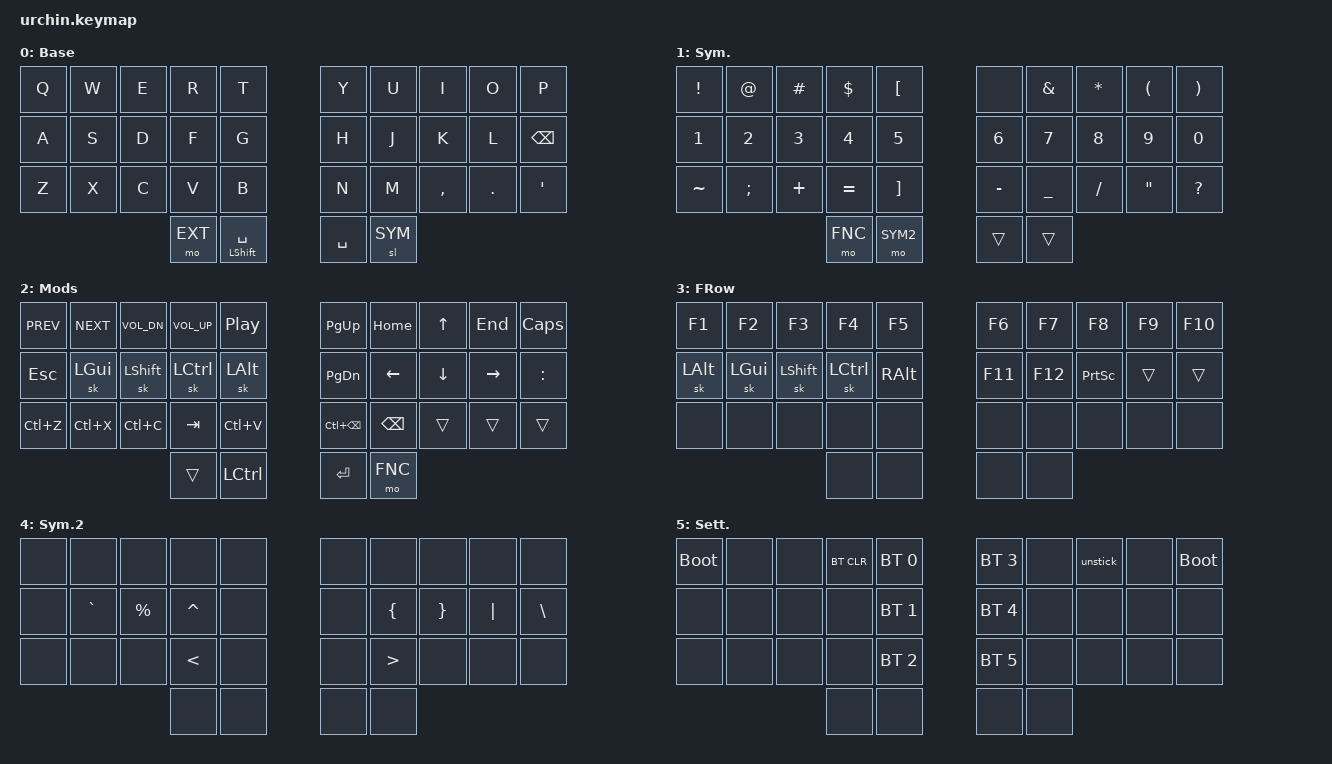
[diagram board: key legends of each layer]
/*
 * Copyright (c) 2020 duckyb
 *
 * SPDX-License-Identifier: MIT
 */

#include <behaviors.dtsi>
#include <dt-bindings/zmk/keys.h>
#include <dt-bindings/zmk/bt.h>
#include <dt-bindings/zmk/outputs.h>

// Layer definitions
#define BASE 0
#define SYM 1
#define EXT 2
#define FNC 3
#define SYM2 4
#define SETTINGS 5
// -----------------

&sk {
	// don't release mods on other mods presses
	ignore-modifiers;
};


/ {
	behaviors {
		// Enables holding the first mod-tap key
		// by performing a tap-release-hold sequence.
		// To use it: "&qt KEYCODE1 KEYCODE2"
		qt: quick_tap {
			compatible = "zmk,behavior-hold-tap";
			label = "QUICK_TAP";
			#binding-cells = <2>;
			flavor = "hold-preferred";
			tapping-term-ms = <200>;
			quick-tap-ms = <200>;
			bindings = <&kp>, <&kp>;
		};
	};

	macros {
		// sometimes my device thinks a modifier is being held down
		// pressing all modifiers fixes it.
		unstick: unstick {
			label = "ZM_unstick";
			compatible = "zmk,behavior-macro";
			#binding-cells = <0>;
			bindings = <&kp LSHIFT &kp RSHIFT &kp LCTRL &kp RCTRL &kp LALT &kp RALT &kp LGUI &kp RGUI>;
		};
	};

	combos {
		compatible = "zmk,combos";
		// internal-left & external-right thumb keys
		combo_sym2 {
			timeout-ms = <200>;
			key-positions = <31 33>;
			bindings = <&mo SYM2>;
		};
		// both left thumb keys
		combo_settings {
			timeout-ms = <200>;
			key-positions = <30 31>;
			bindings = <&mo SETTINGS>;
		};
	};

   keymap {
        compatible = "zmk,keymap";

        default_layer {
            label = "Base";
            bindings = <
        //╭──────────┬──────────┬──────────┬──────────┬──────────╮   ╭──────────┬──────────┬──────────┬──────────┬──────────╮
        //│  Q       │  W       │  E       │  R       │  T       │   │  Y       │  U       │  I       │  O       │  P       │
            &kp Q      &kp W      &kp E      &kp R      &kp T          &kp Y      &kp U      &kp I      &kp O      &kp P
        //├──────────┼──────────┼──────────┼──────────┼──────────┤   ├──────────┼──────────┼──────────┼──────────┼──────────┤
        //│  A       │  S       │  D       │  F       │  G       │   │  H       │  J       │  K       │  L       │  BSPC    │
            &kp A      &kp S      &kp D      &kp F      &kp G          &kp H      &kp J      &kp K      &kp L      &kp BSPC
        //├──────────┼──────────┼──────────┼──────────┼──────────┤   ├──────────┼──────────┼──────────┼──────────┼──────────┤
        //│  Z       │  X       │  C       │  V       │  B       │   │  N       │  M       │ ,        │ .        │  '       │
            &kp Z      &kp X      &kp C      &kp V      &kp B          &kp N      &kp M      &kp COMMA  &kp DOT    &kp SQT
        //╰──────────┴──────────┴──────────┼──────────┼──────────┤   ├──────────┼──────────┼──────────┴──────────┴──────────╯
                                            &mo EXT    &qt LSHIFT SPACE    &kp SPACE  &sl SYM
        //                                 ╰──────────┴──────────╯   ╰──────────┴──────────╯
            >;
        };

        sym_layer {
            label = "Sym.";
            bindings = <
        //╭──────────┬──────────┬──────────┬──────────┬──────────╮   ╭──────────┬──────────┬──────────┬──────────┬──────────╮
        //│  !       │  @       │  #       │  $       │  [       │   │          │  &       │  *       │  (       │  )       │
            &kp EXCL   &kp AT     &kp HASH   &kp DLLR   &kp LBKT       &none      &kp AMPS   &kp STAR   &kp LPAR   &kp RPAR
        //├──────────┼──────────┼──────────┼──────────┼──────────┤   ├──────────┼──────────┼──────────┼──────────┼──────────┤
        //│  1       │  2       │  3       │  4       │  5       │   │  6       │  7       │  8       │  9       │  0       │
            &kp N1     &kp N2     &kp N3     &kp N4     &kp N5         &kp N6     &kp N7     &kp N8     &kp N9     &kp N0
        //├──────────┼──────────┼──────────┼──────────┼──────────┤   ├──────────┼──────────┼──────────┼──────────┼──────────┤
        //│  ~       │  ;       │  +       │  =       │  ]       │   │  -       │  _       │  /       │  "       │  ?       │
            &kp TILDE  &kp SEMI   &kp PLUS   &kp EQUAL  &kp RBKT       &kp MINUS  &kp UNDER  &kp SLASH  &kp DQT    &kp QMARK
        //╰──────────┴──────────┴──────────┼──────────┼──────────┤   ├──────────┼──────────┼──────────┴──────────┴──────────╯
                                             &mo FNC    &mo SYM2       &trans     &trans
        //                                 ╰──────────┴──────────╯   ╰──────────┴──────────╯
            >;
        };

        ext_layer {
            label = "Mods";
            bindings = <
        //╭──────────┬──────────┬──────────┬──────────┬──────────╮   ╭──────────┬──────────┬──────────┬──────────┬──────────╮
        //│   C_PREV   │ C_NEXT │ C_VOL_DN │ C_VOL_UP │ C_PP     │   │ PG_UP    │ HOME     │ UP       │ END      │ CAPS     │
           &kp C_PREV &kp C_NEXT &kp C_VOL_DN &kp C_VOL_UP &kp C_PP   &kp PG_UP  &kp HOME   &kp UP     &kp END    &kp CAPS
        //├──────────┼──────────┼──────────┼──────────┼──────────┤   ├──────────┼──────────┼──────────┼──────────┼──────────┤
        //│ ESC      │ LGUI     │ LSHIFT   │ LCTRL    │ LALT     │   │ PG_DN    │ LEFT     │ DOWN     │ RIGHT    │ COLON    │
            &kp ESC    &sk LGUI   &sk LSHIFT &sk LCTRL  &sk LALT       &kp PG_DN  &kp LEFT   &kp DOWN   &kp RIGHT  &kp COLON
        //├──────────┼──────────┼──────────┼──────────┼──────────┤   ├──────────┼──────────┼──────────┼──────────┼──────────┤
        //│ LC(Z)    │ LC(X)    │ LC(C)    │ TAB      │ LC(V)    │   │ LC(BSPC) │ BSPC     │          │          │          │
            &kp LC(Z)  &kp LC(X)  &kp LC(C)  &kp TAB    &kp LC(V)      &kp LC(BSPC) &kp BSPC &trans     &trans     &trans
        //╰──────────┴──────────┴──────────┼──────────┼──────────┤   ├──────────┼──────────┼──────────┴──────────┴──────────╯
                                             &trans     &kp LCTRL      &kp ENTER  &mo FNC
        //                                 ╰──────────┴──────────╯   ╰──────────┴──────────╯
            >;
        };

        fnc_layer {
            label = "FRow";
            bindings = <
        //╭──────────┬──────────┬──────────┬──────────┬──────────╮   ╭──────────┬──────────┬──────────┬──────────┬──────────╮
        //│ F1       │ F2       │ F3       │ F4       │ F5       │   │ F6       │ F7       │ F8       │ F9       │ F10      │
            &kp F1     &kp F2     &kp F3     &kp F4     &kp F5         &kp F6     &kp F7     &kp F8     &kp F9     &kp F10
        //├──────────┼──────────┼──────────┼──────────┼──────────┤   ├──────────┼──────────┼──────────┼──────────┼──────────┤
        //│ LALT     │ LGUI     │ LSHIFT   │ LCTRL    │ RALT     │   │ F11      │ F12      │ PSCRN    │          │          │
            &sk LALT   &sk LGUI   &sk LSHIFT &sk LCTRL  &kp RALT       &kp F11    &kp F12    &kp PRINTSCREEN &trans &trans
        //├──────────┼──────────┼──────────┼──────────┼──────────┤   ├──────────┼──────────┼──────────┼──────────┼──────────┤
        //│          │          │          │          │          │   │          │          │          │          │          │
            &none      &none      &none      &none      &none          &none      &none      &none      &none      &none
        //╰──────────┴──────────┴──────────┼──────────┼──────────┤   ├──────────┼──────────┼──────────┴──────────┴──────────╯
                                             &none      &none          &none      &none
        //                                 ╰──────────┴──────────╯   ╰──────────┴──────────╯
            >;
        };

        symbols_2_layer {
            label = "Sym.2";
            bindings = <
        //╭──────────┬──────────┬──────────┬──────────┬──────────╮   ╭──────────┬──────────┬──────────┬──────────┬──────────╮
        //│          │          │          │          │          │   │          │          │          │          │          │
            &none      &none      &none      &none      &none          &none      &none      &none      &none      &none
        //├──────────┼──────────┼──────────┼──────────┼──────────┤   ├──────────┼──────────┼──────────┼──────────┼──────────┤
        //│          │ GRAVE    │ PRCNT    │ CARET    │          │   │          │ LBRC     │ RBRC     │ PIPE     │ BSLH     │
            &none      &kp GRAVE  &kp PRCNT  &kp CARET  &none          &none      &kp LBRC   &kp RBRC   &kp PIPE   &kp BSLH
        //├──────────┼──────────┼──────────┼──────────┼──────────┤   ├──────────┼──────────┼──────────┼──────────┼──────────┤
        //│          │          │          │ LT       │          │   │          │ GT       │          │          │          │
            &none      &none      &none      &kp LT     &none          &none      &kp GT     &none      &none      &none
        //╰──────────┴──────────┴──────────┼──────────┼──────────┤   ├──────────┼──────────┼──────────┴──────────┴──────────╯
                                             &none      &none          &none      &none
        //                                 ╰──────────┴──────────╯   ╰──────────┴──────────╯
            >;
        };

        settings_layer {
            label = "Sett.";
            bindings = <
        //╭──────────┬──────────┬──────────┬──────────┬──────────╮   ╭──────────┬──────────┬──────────┬──────────┬──────────╮
        //│BOOTLOADER│          │          │ BT_CLR   │ BT_SEL 0 │   │ BT_SEL 3 │          │ UNSTICK  │          │BOOTLOADER│
            &bootloader &none     &none      &bt BT_CLR &bt BT_SEL 0   &bt BT_SEL 3 &none    &unstick   &none      &bootloader
        //├──────────┼──────────┼──────────┼──────────┼──────────┤   ├──────────┼──────────┼──────────┼──────────┼──────────┤
        //│          │          │          │          │ BT_SEL 1 │   │ BT_SEL 4 │          │          │          │          │
            &none      &none      &none      &none      &bt BT_SEL 1   &bt BT_SEL 4 &none    &none      &none      &none
        //├──────────┼──────────┼──────────┼──────────┼──────────┤   ├──────────┼──────────┼──────────┼──────────┼──────────┤
        //│          │          │          │          │ BT_SEL 2 │   │ BT_SEL 5 │          │          │          │          │
            &none      &none      &none      &none      &bt BT_SEL 2   &bt BT_SEL 5 &none    &none      &none      &none
        //╰──────────┴──────────┴──────────┼──────────┼──────────┤   ├──────────┼──────────┼──────────┴──────────┴──────────╯
                                             &none      &none          &none      &none
        //                                 ╰──────────┴──────────╯   ╰──────────┴──────────╯
            >;
        };
    };
};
